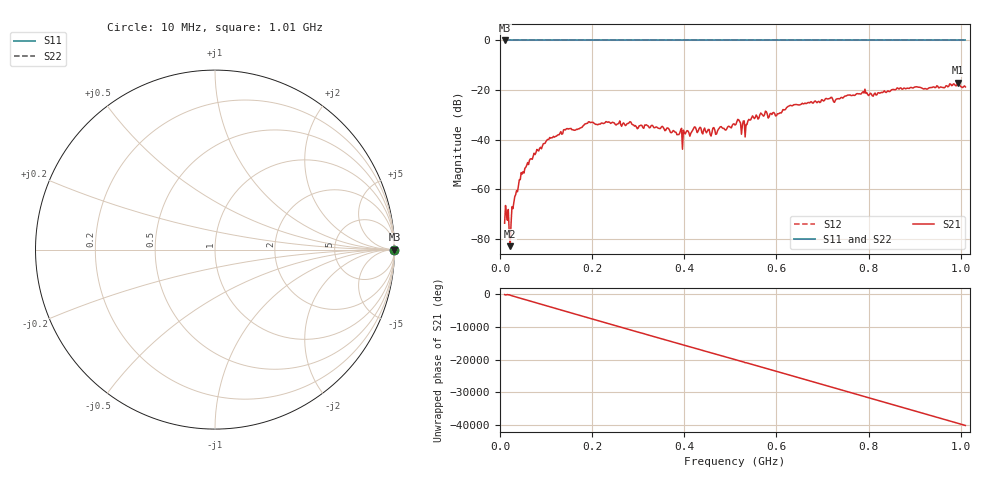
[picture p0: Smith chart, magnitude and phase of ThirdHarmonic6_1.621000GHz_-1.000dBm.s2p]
! 8/16/2025 7:21:48 PM
! C:\ANRITSUVNA\TEMP\TEMP.S2P
! CHANNEL.1
! TR.MEASUREMENT
! RAW.DATA
! RF.CORRECTION.OFF
! AVERAGING.OFF
! IF.BANDWIDTH: 5KHZ
! SWEEPTYPE:  FREQ.SWEEP(Linear)
! Reference Plane Port Info
! PORT:  PORT1  PORT2
! DISTANCE:  0  m  0  m
! TIME:  0  s  0  s
! PHASE.OFFSET:  0  deg.  0  deg.
! LOSS:  0  dB  0  dB
! REF.LOSS:  0  dB  0  dB
! REF.FREQ:  0  Hz  0  Hz
! Power Info
! POWER:  -20  dBm  -20  dBm
! EFF.POWER:  -20  dBm  -20  dBm
! SOURCE.ATTEN:  0  dB  0  dB
! TEST.ATTEN:  0  dB  0  dB
# GHZ S RI R 50.0
! FREQ.GHZ  S11RE  S11IM  S21RE  S21IM  S12RE  S12IM  S22RE  S22IM
!; PortSelection: Port_12
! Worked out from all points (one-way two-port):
!   501 points, 10 MHz to 1.01 GHz, reference 50 ohm
!   highest |S21| = -17.04 dB at 994 MHz (marker M1); lowest = -83.0 dB at 22 MHz (marker M2)
!   lowest |S11| = 0.0 dB at 10 MHz (marker M3)
!   |S11| at or under -10 dB: nowhere
!   |S22| runs from 0.0 to 0.0 dB; largest |S21 - S12| = 1.1
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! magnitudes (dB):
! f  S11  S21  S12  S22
! 10 MHz  0.0  -73.8  0.0  0.0
! 14 MHz  0.0  -70.1  0.0  0.0
! 18 MHz  0.0  -68.2  0.0  0.0
! 22 MHz  0.0  -83.0  0.0  0.0
! 24 MHz  0.0  -73.9  0.0  0.0
! 30 MHz  0.0  -65.5  0.0  0.0
! 46 MHz  0.0  -53.3  0.0  0.0
! 76 MHz  0.0  -46.1  0.0  0.0
! 142 MHz  0.0  -36.1  0.0  0.0
! 178 MHz  0.0  -35.1  0.0  0.0
! 234 MHz  0.0  -33.0  0.0  0.0
! 344 MHz  0.0  -35.4  0.0  0.0
! 400 MHz  0.0  -37.3  0.0  0.0
! 422 MHz  0.0  -34.9  0.0  0.0
! 470 MHz  0.0  -37.7  0.0  0.0
! 510 MHz  0.0  -34.1  0.0  0.0
! 528 MHz  0.0  -32.5  0.0  0.0
! 552 MHz  0.0  -31.5  0.0  0.0
! 678 MHz  0.0  -25.3  0.0  0.0
! 844 MHz  0.0  -20.6  0.0  0.0
! 994 MHz  0.0  -17.0  0.0  0.0
! 1.01 GHz  0.0  -18.8  0.0  0.0
